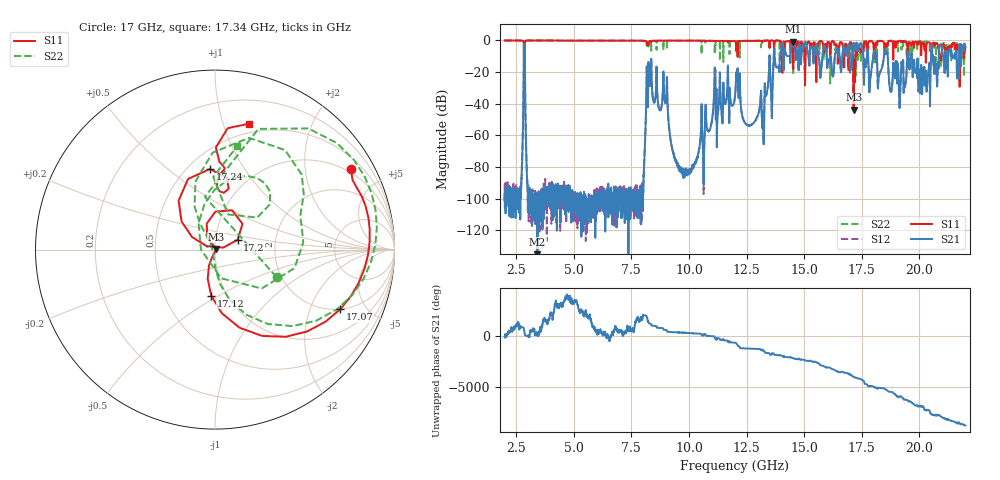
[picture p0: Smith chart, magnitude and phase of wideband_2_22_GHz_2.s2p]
!Agilent Technologies,N5242A,MY47420273,A.09.90.17
!Agilent N5242A: A.09.90.17
!Date: Wednesday, November 29, 2023 14:02:16
!Correction: S11(Full 2 Port(1,4))
!S41(Full 2 Port(1,4))
!S14(Full 2 Port(1,4))
!S44(Full 2 Port(1,4))
!S2P File: Measurements: S11, S41, S14, S44:
# Hz S  RI  R 50
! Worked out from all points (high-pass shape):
!   3201 points, 2 GHz to 22 GHz, reference 50 ohm
!   highest |S21| = -0.74 dB at 14.53 GHz (marker M1); lowest = -135.9 dB at 3.425 GHz (marker M2)
!   |S21| within 3 dB of the highest: 14.44 GHz to 14.59 GHz (144.5 MHz wide, 0.995 % of centre); 14.97 GHz to 15.11 GHz (139.2 MHz wide, 0.926 % of centre)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
!   lowest |S11| = -43.7 dB at 17.15 GHz (marker M3), VSWR 1.01, Z = 50.5 + j0.408 ohm
!   |S11| at or under -10 dB: 17.11 GHz to 17.23 GHz (115.1 MHz wide, 0.67 % of centre); 20.87693 GHz to 20.95259 GHz (75.66 MHz wide, 0.362 % of centre); 21.71986 GHz to 21.77236 GHz (52.51 MHz wide, 0.241 % of centre)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
!   |S22| runs from -37.0 to 0.0 dB; largest |S21 - S12| = 0.0095
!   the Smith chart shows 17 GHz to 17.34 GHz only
!   S11 on the Smith chart (normalised r, x): 17 GHz: 0.87, +3.44; 17.07 GHz: 1.99, -3.29; 17.12 GHz: 0.84, -0.46; 17.2 GHz: 1.28, +0.14; 17.24 GHz: 0.63, +0.71; 17.34 GHz: 0.41, +1.22
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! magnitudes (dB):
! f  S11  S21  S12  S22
! 2 GHz  0.0  -100.9  -90.9  0.0
! 2.669 GHz  0.0  -92.5  -95.4  0.0
! 2.85 GHz  -29.3  -2.2  -2.2  -27.6
! 3.425 GHz  0.0  -135.9  -101.2  -0.1
! 5.338 GHz  -0.1  -102.0  -101.4  -0.1
! 7.956 GHz  -0.1  -100.5  -101.2  -0.2
! 8.262 GHz  -1.0  -22.8  -22.8  -0.8
! 8.669 GHz  -0.1  -40.8  -40.8  -0.1
! 10.08 GHz  -0.1  -83.1  -82.5  -0.1
! 12 GHz  -0.5  -35.3  -35.3  -0.3
! 12.75 GHz  -0.3  -52.8  -53.0  -0.2
! 14.53 GHz  -18.0  -0.7  -0.7  -21.9
! 15.34 GHz  -2.0  -5.0  -5.0  -2.0
! 17 GHz  -1.1  -19.4  -19.4  -8.5
! 17.07 GHz  -2.2  -13.2  -13.1  -1.5
! 17.12 GHz  -11.8  -3.2  -3.2  -10.6
! 17.15 GHz  -43.7  -1.7  -1.7  -26.1
! 17.2 GHz  -17.2  -5.0  -5.0  -3.9
! 17.24 GHz  -6.9  -5.3  -5.3  -9.4
! 17.34 GHz  -2.8  -6.5  -6.5  -4.6
! 18.67 GHz  -0.6  -21.5  -21.5  -0.5
! 22 GHz  -4.4  -4.3  -4.2  -4.7
